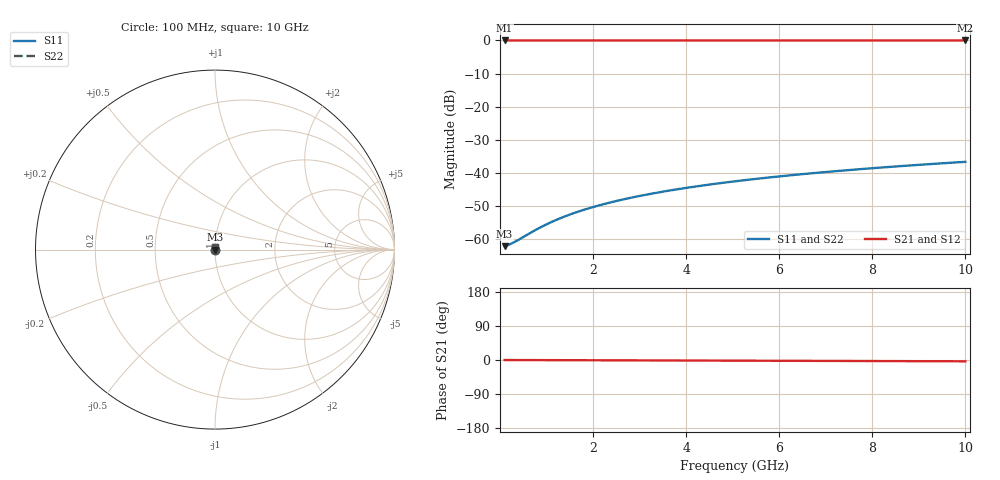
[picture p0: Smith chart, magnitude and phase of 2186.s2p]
# Hz S RI R 50.00
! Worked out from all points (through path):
!   100 points, 100 MHz to 10 GHz, reference 50 ohm
!   highest |S21| = -0.01 dB at 100 MHz (marker M1); lowest = 0.0 dB at 10 GHz (marker M2)
!   lowest |S11| = -62.2 dB at 100 MHz (marker M3), VSWR 1.00, Z = 50.1 + j0.0146 ohm
!   |S11| at or under -10 dB: start of sweep to end of sweep
!   |S22| runs from -62.2 to -36.7 dB; largest |S21 - S12| = 0
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1e8  0.000761 0.000145  0.9992 -0.000601  0.9992 -0.000601  0.000761 0.000145
2e8  0.000766 0.000291  0.9992 -0.0012  0.9992 -0.0012  0.000766 0.000291
3e8  0.00077 0.000436  0.9992 -0.0018  0.9992 -0.0018  0.00077 0.000436
8e8  0.000786 0.00116  0.9992 -0.00481  0.9992 -0.00481  0.000786 0.00116
9e8  0.000789 0.00131  0.9992 -0.00541  0.9992 -0.00541  0.000789 0.00131
1.1e9  0.000795 0.0016  0.9992 -0.00661  0.9992 -0.00661  0.000795 0.0016
1.4e9  0.000805 0.00203  0.9992 -0.00841  0.9992 -0.00841  0.000805 0.00203
1.6e9  0.000813 0.00233  0.9992 -0.00962  0.9992 -0.00962  0.000813 0.00233
1.8e9  0.00082 0.00262  0.9991 -0.0108  0.9991 -0.0108  0.00082 0.00262
2.1e9  0.000833 0.00305  0.9991 -0.0126  0.9991 -0.0126  0.000833 0.00305
2.5e9  0.000853 0.00363  0.9991 -0.015  0.9991 -0.015  0.000853 0.00363
2.9e9  0.000875 0.00421  0.999 -0.0174  0.999 -0.0174  0.000875 0.00421
3.4e9  0.000906 0.00494  0.999 -0.0204  0.999 -0.0204  0.000906 0.00494
3.8e9  0.000934 0.00552  0.9989 -0.0228  0.9989 -0.0228  0.000934 0.00552
4.2e9  0.000964 0.0061  0.9988 -0.0252  0.9988 -0.0252  0.000964 0.0061
4.6e9  0.000998 0.00668  0.9988 -0.0277  0.9988 -0.0277  0.000998 0.00668
5.1e9  0.00104 0.00741  0.9987 -0.0307  0.9987 -0.0307  0.00104 0.00741
5.9e9  0.00112 0.00857  0.9985 -0.0355  0.9985 -0.0355  0.00112 0.00857
6.7e9  0.00122 0.00972  0.9983 -0.0403  0.9983 -0.0403  0.00122 0.00972
7.5e9  0.00132 0.0109  0.9981 -0.0451  0.9981 -0.0451  0.00132 0.0109
8.4e9  0.00145 0.0122  0.9978 -0.0505  0.9978 -0.0505  0.00145 0.0122
1e10  0.00172 0.0145  0.9972 -0.0601  0.9972 -0.0601  0.00172 0.0145
